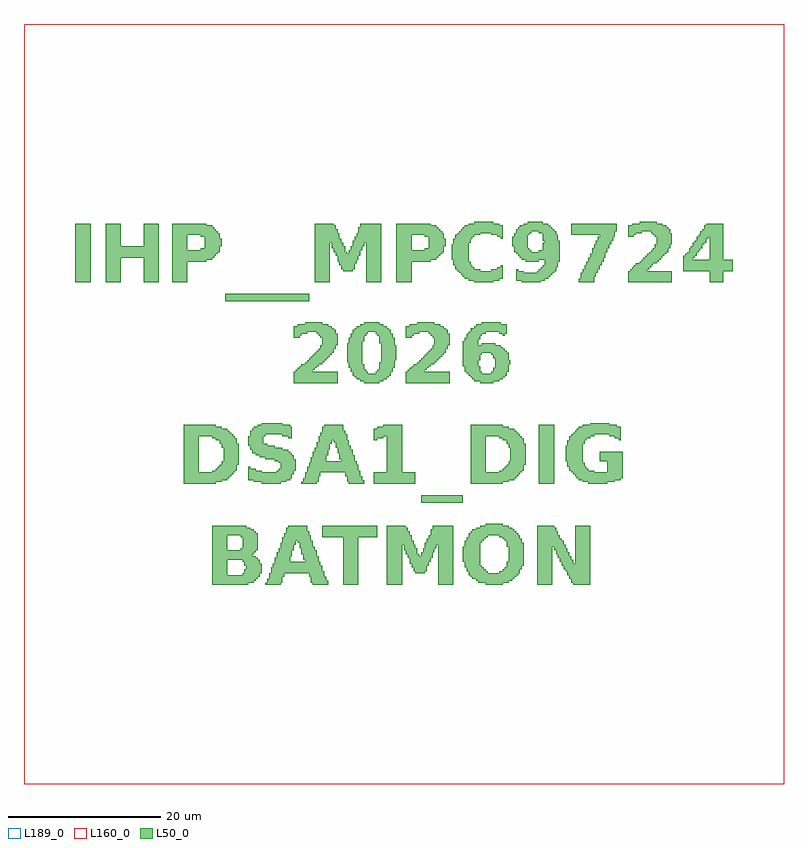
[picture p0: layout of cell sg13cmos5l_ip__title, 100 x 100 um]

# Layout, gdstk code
import gdstk
lib = gdstk.Library(unit=1e-6, precision=1e-09)
def R(c, l, rs):  # rectangles x0, y0, x1, y1
    for r in rs: c.add(gdstk.rectangle(r[:2], r[2:], *l))
def P(c, l, *ps):  # polygons
    for p in ps: c.add(gdstk.Polygon(p, *l))
L50_0 = (50, 0)
L160_0 = (160, 0)
L189_0 = (189, 0)

sg13cmos5l_ip__title = lib.new_cell('sg13cmos5l_ip__title')
R(sg13cmos5l_ip__title, L50_0, [(52.25,37,57.75,38), (67.75,39.5,69.75,47.25), (26.5,63.5,37.5,64.5), (6.75,66,8.75,73.75)])
P(sg13cmos5l_ip__title, L50_0, [(24.75,26.25),(24.75,29.5),(26.75,29.5),(26.75,27.5),(28.75,27.5),(28.75,27.75),(29,27.75),(29,28.25),(29.25,28.25),(29.25,28.75),(29,28.75),(29,29.25),(28.75,29.25),(28.75,29.5),(24.75,29.5),(24.75,32.75),(26.75,32.75),(26.75,30.75),(28.5,30.75),(28.5,31),(28.75,31),(28.75,32.5),(28.5,32.5),(28.5,32.75),(24.75,32.75),(24.75,34),(29.25,34),(29.25,33.75),(29.75,33.75),(29.75,33.5),(30.25,33.5),(30.25,33.25),(30.5,33.25),(30.5,33),(30.75,33),(30.75,30.75),(30.5,30.75),(30.5,30.5),(30.25,30.5),(30.25,30.25),(30,30.25),(30,30),(30.5,30),(30.5,29.75),(30.75,29.75),(30.75,29.5),(31,29.5),(31,29),(31.25,29),(31.25,27.75),(31,27.75),(31,27.25),(30.75,27.25),(30.75,27),(30.5,27),(30.5,26.75),(30.25,26.75),(30.25,26.5),(29.5,26.5),(29.5,26.25)],
  [(31.75,26.25),(31.75,26.5),(32,26.5),(32,27),(32.25,27),(32.25,27.75),(32.5,27.75),(32.5,28.5),(32.75,28.5),(32.75,29),(33,29),(33,29.75),(33.25,29.75),(33.25,30.5),(33.5,30.5),(33.5,31),(33.75,31),(33.75,31.75),(34,31.75),(34,32),(35.75,32),(35.75,31.5),(35.5,31.5),(35.5,30.75),(35.25,30.75),(35.25,30),(35,30),(35,29.25),(37,29.25),(37,29.5),(36.75,29.5),(36.75,30.25),(36.5,30.25),(36.5,31),(36.25,31),(36.25,31.75),(36,31.75),(36,32),(34,32),(34,32.5),(34.25,32.5),(34.25,33),(34.5,33),(34.5,33.75),(34.75,33.75),(34.75,34),(37.25,34),(37.25,33.25),(37.5,33.25),(37.5,32.75),(37.75,32.75),(37.75,32),(38,32),(38,31.25),(38.25,31.25),(38.25,30.75),(38.5,30.75),(38.5,30),(38.75,30),(38.75,29.25),(39,29.25),(39,28.75),(39.25,28.75),(39.25,28),(39.5,28),(39.5,27.25),(39.75,27.25),(39.75,26.75),(40,26.75),(40,26.25),(38,26.25),(38,26.5),(37.75,26.5),(37.75,27.25),(37.5,27.25),(37.5,27.75),(34.25,27.75),(34.25,27.25),(34,27.25),(34,26.5),(33.75,26.5),(33.75,26.25)],
  [(42,26.25),(42,32.5),(39.25,32.5),(39.25,34),(46.5,34),(46.5,32.5),(44,32.5),(44,26.25)],
  [(47.75,26.25),(47.75,34),(50.25,34),(50.25,33.75),(50.5,33.75),(50.5,33.25),(50.75,33.25),(50.75,32.75),(51,32.75),(51,32),(51.25,32),(51.25,31.5),(51.5,31.5),(51.5,31),(51.75,31),(51.75,30.25),(52,30.25),(52,30),(52.25,30),(52.25,30.5),(52.5,30.5),(52.5,31),(52.75,31),(52.75,31.75),(53,31.75),(53,32.25),(53.25,32.25),(53.25,32.75),(53.5,32.75),(53.5,33.5),(53.75,33.5),(53.75,34),(56.5,34),(56.5,26.25),(54.5,26.25),(54.5,31.5),(54.25,31.5),(54.25,31),(54,31),(54,30.5),(53.75,30.5),(53.75,29.75),(53.5,29.75),(53.5,29.25),(53.25,29.25),(53.25,28.75),(53,28.75),(53,28),(52.75,28),(52.75,27.75),(51.5,27.75),(51.5,28),(51.25,28),(51.25,28.5),(51,28.5),(51,29),(50.75,29),(50.75,29.75),(50.5,29.75),(50.5,30.25),(50.25,30.25),(50.25,30.75),(50,30.75),(50,31.5),(49.75,31.5),(49.75,26.25)],
  [(67.5,26.25),(67.5,34),(69.75,34),(69.75,33.75),(70,33.75),(70,33.25),(70.25,33.25),(70.25,32.75),(70.5,32.75),(70.5,32.25),(70.75,32.25),(70.75,32),(71,32),(71,31.5),(71.25,31.5),(71.25,31),(71.5,31),(71.5,30.5),(71.75,30.5),(71.75,30),(72,30),(72,29.5),(72.25,29.5),(72.25,29),(72.5,29),(72.5,34),(74.5,34),(74.5,26.25),(72.25,26.25),(72.25,26.5),(72,26.5),(72,27),(71.75,27),(71.75,27.5),(71.5,27.5),(71.5,28),(71.25,28),(71.25,28.25),(71,28.25),(71,28.75),(70.75,28.75),(70.75,29.25),(70.5,29.25),(70.5,29.75),(70.25,29.75),(70.25,30.25),(70,30.25),(70,30.75),(69.75,30.75),(69.75,31.25),(69.5,31.25),(69.5,26.25)],
  [(60.75,26.25),(60.75,26.5),(59.75,26.5),(59.75,26.75),(59.5,26.75),(59.5,27),(59,27),(59,27.25),(58.75,27.25),(58.75,27.5),(58.5,27.5),(58.5,28),(58.25,28),(58.25,28.5),(58,28.5),(58,29.25),(57.75,29.25),(57.75,31.25),(58,31.25),(58,32),(58.25,32),(58.25,32.5),(58.5,32.5),(58.5,32.75),(61,32.75),(61,32.5),(60.75,32.5),(60.75,32.25),(60.5,32.25),(60.5,32),(60.25,32),(60.25,31.75),(60,31.75),(60,28.75),(60.25,28.75),(60.25,28.5),(60.5,28.5),(60.5,28.25),(60.75,28.25),(60.75,28),(61,28),(61,27.75),(62.5,27.75),(62.5,28),(63,28),(63,28.25),(63.25,28.25),(63.25,28.5),(63.5,28.5),(63.5,29.25),(63.75,29.25),(63.75,31.25),(63.5,31.25),(63.5,32),(63.25,32),(63.25,32.25),(63,32.25),(63,32.5),(62.5,32.5),(62.5,32.75),(58.5,32.75),(58.5,33),(58.75,33),(58.75,33.25),(59,33.25),(59,33.5),(59.5,33.5),(59.5,33.75),(60,33.75),(60,34),(60.75,34),(60.75,34.25),(63,34.25),(63,34),(63.75,34),(63.75,33.75),(64.25,33.75),(64.25,33.5),(64.5,33.5),(64.5,33.25),(64.75,33.25),(64.75,33),(65,33),(65,32.75),(65.25,32.75),(65.25,32.25),(65.5,32.25),(65.5,31.75),(65.75,31.75),(65.75,28.75),(65.5,28.75),(65.5,28.25),(65.25,28.25),(65.25,27.75),(65,27.75),(65,27.5),(64.75,27.5),(64.75,27.25),(64.5,27.25),(64.5,27),(64.25,27),(64.25,26.75),(63.75,26.75),(63.75,26.5),(63,26.5),(63,26.25)],
  [(21,39.5),(21,45.75),(23,45.75),(23,41),(24.75,41),(24.75,41.25),(25.25,41.25),(25.25,41.5),(25.5,41.5),(25.5,41.75),(25.75,41.75),(25.75,42),(26,42),(26,42.5),(26.25,42.5),(26.25,44.25),(26,44.25),(26,44.75),(25.75,44.75),(25.75,45.25),(25.25,45.25),(25.25,45.5),(24.75,45.5),(24.75,45.75),(21,45.75),(21,47.25),(25.25,47.25),(25.25,47),(26,47),(26,46.75),(26.75,46.75),(26.75,46.5),(27,46.5),(27,46.25),(27.25,46.25),(27.25,46),(27.5,46),(27.5,45.75),(27.75,45.75),(27.75,45.5),(28,45.5),(28,44.75),(28.25,44.75),(28.25,42),(28,42),(28,41.25),(27.75,41.25),(27.75,41),(27.5,41),(27.5,40.75),(27.25,40.75),(27.25,40.5),(27,40.5),(27,40.25),(26.75,40.25),(26.75,40),(26,40),(26,39.75),(25.25,39.75),(25.25,39.5)],
  [(36.5,39.5),(36.5,39.75),(36.75,39.75),(36.75,40.25),(37,40.25),(37,41),(37.25,41),(37.25,41.75),(37.5,41.75),(37.5,42.25),(37.75,42.25),(37.75,43),(38,43),(38,43.75),(38.25,43.75),(38.25,44.25),(38.5,44.25),(38.5,45),(38.75,45),(38.75,45.25),(40.5,45.25),(40.5,44.75),(40.25,44.75),(40.25,44),(40,44),(40,43.25),(39.75,43.25),(39.75,42.5),(41.75,42.5),(41.75,42.75),(41.5,42.75),(41.5,43.5),(41.25,43.5),(41.25,44.25),(41,44.25),(41,45),(40.75,45),(40.75,45.25),(38.75,45.25),(38.75,45.75),(39,45.75),(39,46.25),(39.25,46.25),(39.25,47),(39.5,47),(39.5,47.25),(42,47.25),(42,46.5),(42.25,46.5),(42.25,46),(42.5,46),(42.5,45.25),(42.75,45.25),(42.75,44.5),(43,44.5),(43,44),(43.25,44),(43.25,43.25),(43.5,43.25),(43.5,42.5),(43.75,42.5),(43.75,42),(44,42),(44,41.25),(44.25,41.25),(44.25,40.5),(44.5,40.5),(44.5,40),(44.75,40),(44.75,39.5),(42.75,39.5),(42.75,39.75),(42.5,39.75),(42.5,40.5),(42.25,40.5),(42.25,41),(39,41),(39,40.5),(38.75,40.5),(38.75,39.75),(38.5,39.75),(38.5,39.5)],
  [(46,39.5),(46,41),(47.75,41),(47.75,45.75),(47.25,45.75),(47.25,45.5),(46.5,45.5),(46.5,45.25),(46,45.25),(46,46.75),(46.5,46.75),(46.5,47),(47.25,47),(47.25,47.25),(49.75,47.25),(49.75,41),(51.5,41),(51.5,39.5)],
  [(58.75,39.5),(58.75,45.75),(60.75,45.75),(60.75,41),(62.5,41),(62.5,41.25),(63,41.25),(63,41.5),(63.25,41.5),(63.25,41.75),(63.5,41.75),(63.5,42),(63.75,42),(63.75,42.5),(64,42.5),(64,44.25),(63.75,44.25),(63.75,44.75),(63.5,44.75),(63.5,45.25),(63,45.25),(63,45.5),(62.5,45.5),(62.5,45.75),(58.75,45.75),(58.75,47.25),(63,47.25),(63,47),(63.75,47),(63.75,46.75),(64.5,46.75),(64.5,46.5),(64.75,46.5),(64.75,46.25),(65,46.25),(65,46),(65.25,46),(65.25,45.75),(65.5,45.75),(65.5,45.5),(65.75,45.5),(65.75,44.75),(66,44.75),(66,42),(65.75,42),(65.75,41.25),(65.5,41.25),(65.5,41),(65.25,41),(65.25,40.75),(65,40.75),(65,40.5),(64.75,40.5),(64.75,40.25),(64.5,40.25),(64.5,40),(63.75,40),(63.75,39.75),(63,39.75),(63,39.5)],
  [(31.25,39.5),(31.25,39.75),(30.25,39.75),(30.25,40),(29.5,40),(29.5,41.75),(29.75,41.75),(29.75,41.5),(30.5,41.5),(30.5,41.25),(31.25,41.25),(31.25,41),(33.25,41),(33.25,41.25),(33.5,41.25),(33.5,41.5),(33.75,41.5),(33.75,42.25),(33.5,42.25),(33.5,42.5),(33,42.5),(33,42.75),(31.75,42.75),(31.75,43),(31,43),(31,43.25),(30.5,43.25),(30.5,43.5),(30,43.5),(30,44),(29.75,44),(29.75,44.5),(29.5,44.5),(29.5,45.75),(29.75,45.75),(29.75,46.5),(30,46.5),(30,46.75),(30.25,46.75),(30.25,47),(30.75,47),(30.75,47.25),(31.25,47.25),(31.25,47.5),(34,47.5),(34,47.25),(35,47.25),(35,47),(35.25,47),(35.25,45.5),(34.75,45.5),(34.75,45.75),(34,45.75),(34,46),(31.75,46),(31.75,45.75),(31.5,45.75),(31.5,44.75),(32,44.75),(32,44.5),(33,44.5),(33,44.25),(34,44.25),(34,44),(34.75,44),(34.75,43.75),(35,43.75),(35,43.5),(35.25,43.5),(35.25,43.25),(35.5,43.25),(35.5,42.75),(35.75,42.75),(35.75,41.25),(35.5,41.25),(35.5,40.75),(35.25,40.75),(35.25,40.25),(35,40.25),(35,40),(34.5,40),(34.5,39.75),(33.75,39.75),(33.75,39.5)],
  [(74.25,39.5),(74.25,39.75),(73.5,39.75),(73.5,40),(73,40),(73,40.25),(72.75,40.25),(72.75,40.5),(72.5,40.5),(72.5,40.75),(72.25,40.75),(72.25,41),(72,41),(72,41.25),(71.75,41.25),(71.75,41.75),(71.5,41.75),(71.5,42.5),(71.25,42.5),(71.25,44.5),(71.5,44.5),(71.5,45.25),(71.75,45.25),(71.75,45.75),(72,45.75),(72,46),(72.25,46),(72.25,46.25),(72.5,46.25),(72.5,46.5),(72.75,46.5),(72.75,46.75),(73,46.75),(73,47),(73.5,47),(73.5,47.25),(74.5,47.25),(74.5,47.5),(77,47.5),(77,47.25),(78,47.25),(78,47),(78.5,47),(78.5,45.25),(78.25,45.25),(78.25,45.5),(77.75,45.5),(77.75,45.75),(77,45.75),(77,46),(75,46),(75,45.75),(74.5,45.75),(74.5,45.5),(74,45.5),(74,45.25),(73.75,45.25),(73.75,44.75),(73.5,44.75),(73.5,42.25),(73.75,42.25),(73.75,41.75),(74,41.75),(74,41.5),(74.25,41.5),(74.25,41.25),(75,41.25),(75,41),(76.75,41),(76.75,42.5),(75.75,42.5),(75.75,43.75),(78.75,43.75),(78.75,40.25),(78.5,40.25),(78.5,40),(77.75,40),(77.75,39.75),(76.75,39.75),(76.75,39.5)],
  [(35.5,52.75),(35.5,54.25),(35.75,54.25),(35.75,54.5),(36,54.5),(36,54.75),(36.25,54.75),(36.25,55),(36.5,55),(36.5,55.25),(37,55.25),(37,55.5),(37.25,55.5),(37.25,55.75),(37.5,55.75),(37.5,56),(37.75,56),(37.75,56.25),(38,56.25),(38,56.5),(38.25,56.5),(38.25,56.75),(38.5,56.75),(38.5,57),(38.75,57),(38.75,57.25),(39,57.25),(39,57.75),(39.25,57.75),(39.25,58.75),(39,58.75),(39,59),(38.75,59),(38.75,59.25),(38.5,59.25),(38.5,59.5),(37.25,59.5),(37.25,59.25),(36.5,59.25),(36.5,59),(36.25,59),(36.25,58.75),(35.5,58.75),(35.5,60.25),(36,60.25),(36,60.5),(37,60.5),(37,60.75),(39.25,60.75),(39.25,60.5),(40,60.5),(40,60.25),(40.5,60.25),(40.5,60),(40.75,60),(40.75,59.75),(41,59.75),(41,59.25),(41.25,59.25),(41.25,57.75),(41,57.75),(41,57.25),(40.75,57.25),(40.75,56.75),(40.5,56.75),(40.5,56.5),(40.25,56.5),(40.25,56.25),(40,56.25),(40,56),(39.75,56),(39.75,55.75),(39.5,55.75),(39.5,55.5),(39.25,55.5),(39.25,55.25),(38.75,55.25),(38.75,55),(38.5,55),(38.5,54.75),(38.25,54.75),(38.25,54.5),(38,54.5),(38,54.25),(41.25,54.25),(41.25,52.75)],
  [(44.75,52.75),(44.75,53),(44.25,53),(44.25,53.25),(43.75,53.25),(43.75,53.5),(43.5,53.5),(43.5,53.75),(43.25,53.75),(43.25,54.25),(43,54.25),(43,54.75),(42.75,54.75),(42.75,55.5),(42.5,55.5),(42.5,58),(42.75,58),(42.75,58.75),(43,58.75),(43,59.25),(43.25,59.25),(43.25,59.5),(45.25,59.5),(45.25,59.25),(45,59.25),(45,59),(44.75,59),(44.75,58.25),(44.5,58.25),(44.5,55.25),(44.75,55.25),(44.75,54.5),(45,54.5),(45,54.25),(45.25,54.25),(45.25,54),(46.25,54),(46.25,54.25),(46.5,54.25),(46.5,54.5),(46.75,54.5),(46.75,55.5),(47,55.5),(47,58),(46.75,58),(46.75,59),(46.5,59),(46.5,59.25),(46.25,59.25),(46.25,59.5),(43.25,59.5),(43.25,59.75),(43.5,59.75),(43.5,60),(43.75,60),(43.75,60.25),(44.25,60.25),(44.25,60.5),(44.75,60.5),(44.75,60.75),(46.75,60.75),(46.75,60.5),(47.25,60.5),(47.25,60.25),(47.75,60.25),(47.75,60),(48,60),(48,59.75),(48.25,59.75),(48.25,59.25),(48.5,59.25),(48.5,58.75),(48.75,58.75),(48.75,57.75),(49,57.75),(49,55.75),(48.75,55.75),(48.75,54.75),(48.5,54.75),(48.5,54.25),(48.25,54.25),(48.25,53.75),(48,53.75),(48,53.5),(47.75,53.5),(47.75,53.25),(47.25,53.25),(47.25,53),(46.75,53),(46.75,52.75)],
  [(50.25,52.75),(50.25,54.25),(50.5,54.25),(50.5,54.5),(50.75,54.5),(50.75,54.75),(51,54.75),(51,55),(51.25,55),(51.25,55.25),(51.75,55.25),(51.75,55.5),(52,55.5),(52,55.75),(52.25,55.75),(52.25,56),(52.5,56),(52.5,56.25),(52.75,56.25),(52.75,56.5),(53,56.5),(53,56.75),(53.25,56.75),(53.25,57),(53.5,57),(53.5,57.25),(53.75,57.25),(53.75,57.75),(54,57.75),(54,58.75),(53.75,58.75),(53.75,59),(53.5,59),(53.5,59.25),(53.25,59.25),(53.25,59.5),(52,59.5),(52,59.25),(51.25,59.25),(51.25,59),(51,59),(51,58.75),(50.25,58.75),(50.25,60.25),(50.75,60.25),(50.75,60.5),(51.75,60.5),(51.75,60.75),(54,60.75),(54,60.5),(54.75,60.5),(54.75,60.25),(55.25,60.25),(55.25,60),(55.5,60),(55.5,59.75),(55.75,59.75),(55.75,59.25),(56,59.25),(56,57.75),(55.75,57.75),(55.75,57.25),(55.5,57.25),(55.5,56.75),(55.25,56.75),(55.25,56.5),(55,56.5),(55,56.25),(54.75,56.25),(54.75,56),(54.5,56),(54.5,55.75),(54.25,55.75),(54.25,55.5),(54,55.5),(54,55.25),(53.5,55.25),(53.5,55),(53.25,55),(53.25,54.75),(53,54.75),(53,54.5),(52.75,54.5),(52.75,54.25),(56,54.25),(56,52.75)],
  [(60,52.75),(60,53),(59.25,53),(59.25,53.25),(59,53.25),(59,53.5),(58.75,53.5),(58.75,53.75),(58.5,53.75),(58.5,54),(58.25,54),(58.25,54.25),(58,54.25),(58,55),(57.75,55),(57.75,56.75),(60.25,56.75),(60.25,56.5),(60,56.5),(60,55.75),(59.75,55.75),(59.75,55),(60,55),(60,54.25),(60.25,54.25),(60.25,54),(61.5,54),(61.5,54.25),(61.75,54.25),(61.75,54.75),(62,54.75),(62,56),(61.75,56),(61.75,56.5),(61.5,56.5),(61.5,56.75),(57.75,56.75),(57.75,58.25),(58,58.25),(58,58.75),(58.25,58.75),(58.25,59.25),(58.5,59.25),(58.5,59.5),(58.75,59.5),(58.75,60),(59.25,60),(59.25,60.25),(59.5,60.25),(59.5,60.5),(60.25,60.5),(60.25,60.75),(62.75,60.75),(62.75,60.5),(63.5,60.5),(63.5,59.25),(63.25,59.25),(63.25,59),(63,59),(63,59.25),(62.5,59.25),(62.5,59.5),(60.75,59.5),(60.75,59.25),(60.25,59.25),(60.25,59),(60,59),(60,58.5),(59.75,58.5),(59.75,57.75),(60.25,57.75),(60.25,58),(62,58),(62,57.75),(62.75,57.75),(62.75,57.5),(63,57.5),(63,57.25),(63.25,57.25),(63.25,57),(63.5,57),(63.5,56.75),(63.75,56.75),(63.75,55.75),(64,55.75),(64,55.25),(63.75,55.25),(63.75,54.25),(63.5,54.25),(63.5,53.75),(63.25,53.75),(63.25,53.5),(63,53.5),(63,53.25),(62.5,53.25),(62.5,53),(61.75,53),(61.75,52.75)],
  [(10.75,66),(10.75,73.75),(12.75,73.75),(12.75,70.75),(15.75,70.75),(15.75,73.75),(17.75,73.75),(17.75,66),(15.75,66),(15.75,69.25),(12.75,69.25),(12.75,66)],
  [(19.5,66),(19.5,72.25),(21.5,72.25),(21.5,70.25),(23.25,70.25),(23.25,70.5),(23.75,70.5),(23.75,72),(23.25,72),(23.25,72.25),(19.5,72.25),(19.5,73.75),(24,73.75),(24,73.5),(24.75,73.5),(24.75,73.25),(25,73.25),(25,73),(25.25,73),(25.25,72.75),(25.5,72.75),(25.5,72.5),(25.75,72.5),(25.75,71.75),(26,71.75),(26,70.75),(25.75,70.75),(25.75,70),(25.5,70),(25.5,69.75),(25.25,69.75),(25.25,69.5),(25,69.5),(25,69.25),(24.75,69.25),(24.75,69),(24,69),(24,68.75),(21.5,68.75),(21.5,66)],
  [(38.25,66),(38.25,73.75),(40.75,73.75),(40.75,73.5),(41,73.5),(41,73),(41.25,73),(41.25,72.5),(41.5,72.5),(41.5,71.75),(41.75,71.75),(41.75,71.25),(42,71.25),(42,70.75),(42.25,70.75),(42.25,70),(42.5,70),(42.5,69.75),(42.75,69.75),(42.75,70.25),(43,70.25),(43,70.75),(43.25,70.75),(43.25,71.5),(43.5,71.5),(43.5,72),(43.75,72),(43.75,72.5),(44,72.5),(44,73.25),(44.25,73.25),(44.25,73.75),(47,73.75),(47,66),(45,66),(45,71.25),(44.75,71.25),(44.75,70.75),(44.5,70.75),(44.5,70.25),(44.25,70.25),(44.25,69.5),(44,69.5),(44,69),(43.75,69),(43.75,68.5),(43.5,68.5),(43.5,67.75),(43.25,67.75),(43.25,67.5),(42,67.5),(42,67.75),(41.75,67.75),(41.75,68.25),(41.5,68.25),(41.5,68.75),(41.25,68.75),(41.25,69.5),(41,69.5),(41,70),(40.75,70),(40.75,70.5),(40.5,70.5),(40.5,71.25),(40.25,71.25),(40.25,66)],
  [(49,66),(49,72.25),(51,72.25),(51,70.25),(52.75,70.25),(52.75,70.5),(53.25,70.5),(53.25,72),(52.75,72),(52.75,72.25),(49,72.25),(49,73.75),(53.5,73.75),(53.5,73.5),(54.25,73.5),(54.25,73.25),(54.5,73.25),(54.5,73),(54.75,73),(54.75,72.75),(55,72.75),(55,72.5),(55.25,72.5),(55.25,71.75),(55.5,71.75),(55.5,70.75),(55.25,70.75),(55.25,70),(55,70),(55,69.75),(54.75,69.75),(54.75,69.5),(54.5,69.5),(54.5,69.25),(54.25,69.25),(54.25,69),(53.5,69),(53.5,68.75),(51,68.75),(51,66)],
  [(73,66),(73,66.5),(73.25,66.5),(73.25,67.25),(73.5,67.25),(73.5,67.75),(73.75,67.75),(73.75,68.25),(74,68.25),(74,68.75),(74.25,68.75),(74.25,69.25),(74.5,69.25),(74.5,69.75),(74.75,69.75),(74.75,70.5),(75,70.5),(75,71),(75.25,71),(75.25,71.5),(75.5,71.5),(75.5,72),(75.75,72),(75.75,72.25),(72,72.25),(72,73.75),(78,73.75),(78,72.75),(77.75,72.75),(77.75,72),(77.5,72),(77.5,71.5),(77.25,71.5),(77.25,71),(77,71),(77,70.5),(76.75,70.5),(76.75,70),(76.5,70),(76.5,69.25),(76.25,69.25),(76.25,68.75),(76,68.75),(76,68.25),(75.75,68.25),(75.75,67.75),(75.5,67.75),(75.5,67.25),(75.25,67.25),(75.25,66.75),(75,66.75),(75,66)],
  [(90.25,66),(90.25,67.5),(86.75,67.5),(86.75,69.5),(87,69.5),(87,69.75),(87.25,69.75),(87.25,70),(87.5,70),(87.5,70.5),(87.75,70.5),(87.75,70.75),(88,70.75),(88,71.25),(88.25,71.25),(88.25,71.5),(88.5,71.5),(88.5,72),(90,72),(90,71.75),(89.75,71.75),(89.75,71.25),(89.5,71.25),(89.5,71),(89.25,71),(89.25,70.5),(89,70.5),(89,70.25),(88.75,70.25),(88.75,70),(88.5,70),(88.5,69.5),(88.25,69.5),(88.25,69.25),(88,69.25),(88,69),(90.25,69),(90.25,72),(88.75,72),(88.75,72.25),(89,72.25),(89,72.75),(89.25,72.75),(89.25,73),(89.5,73),(89.5,73.5),(89.75,73.5),(89.75,73.75),(92,73.75),(92,69),(93.25,69),(93.25,67.5),(92,67.5),(92,66)],
  [(59.25,66),(59.25,66.25),(58.5,66.25),(58.5,66.5),(58,66.5),(58,66.75),(57.75,66.75),(57.75,67),(57.5,67),(57.5,67.25),(57.25,67.25),(57.25,67.5),(57,67.5),(57,67.75),(56.75,67.75),(56.75,68.25),(56.5,68.25),(56.5,69),(56.25,69),(56.25,71),(56.5,71),(56.5,71.75),(56.75,71.75),(56.75,72.25),(57,72.25),(57,72.5),(57.25,72.5),(57.25,72.75),(57.5,72.75),(57.5,73),(57.75,73),(57.75,73.25),(58,73.25),(58,73.5),(58.5,73.5),(58.5,73.75),(59.25,73.75),(59.25,74),(61.75,74),(61.75,73.75),(62.5,73.75),(62.5,73.5),(63,73.5),(63,71.75),(62.75,71.75),(62.75,72),(62.25,72),(62.25,72.25),(61.5,72.25),(61.5,72.5),(60,72.5),(60,72.25),(59.25,72.25),(59.25,72),(59,72),(59,71.75),(58.75,71.75),(58.75,71.25),(58.5,71.25),(58.5,68.75),(58.75,68.75),(58.75,68.25),(59,68.25),(59,68),(59.25,68),(59.25,67.75),(60,67.75),(60,67.5),(61.5,67.5),(61.5,67.75),(62.25,67.75),(62.25,68),(62.75,68),(62.75,68.25),(63,68.25),(63,66.5),(62.5,66.5),(62.5,66.25),(61.75,66.25),(61.75,66)],
  [(65.5,66),(65.5,66.25),(64.75,66.25),(64.75,67.75),(65,67.75),(65,67.5),(65.75,67.5),(65.75,67.25),(67.5,67.25),(67.5,67.5),(67.75,67.5),(67.75,67.75),(68,67.75),(68,68),(68.25,68),(68.25,68.25),(68.5,68.25),(68.5,69),(67.75,69),(67.75,68.75),(66,68.75),(66,69),(65.5,69),(65.5,69.25),(65.25,69.25),(65.25,69.5),(65,69.5),(65,69.75),(64.75,69.75),(64.75,70),(64.5,70),(64.5,70.75),(64.25,70.75),(64.25,72),(64.5,72),(64.5,72.5),(64.75,72.5),(64.75,72.75),(66.75,72.75),(66.75,72.5),(66.5,72.5),(66.5,72.25),(66.25,72.25),(66.25,70.5),(66.5,70.5),(66.5,70.25),(66.75,70.25),(66.75,70),(67.75,70),(67.75,70.25),(68.25,70.25),(68.25,71.25),(68.5,71.25),(68.5,71.5),(68.25,71.5),(68.25,72.5),(67.75,72.5),(67.75,72.75),(64.75,72.75),(64.75,73),(65,73),(65,73.25),(65.25,73.25),(65.25,73.5),(65.75,73.5),(65.75,73.75),(66.25,73.75),(66.25,74),(68.25,74),(68.25,73.75),(69,73.75),(69,73.5),(69.25,73.5),(69.25,73.25),(69.5,73.25),(69.5,73),(69.75,73),(69.75,72.75),(70,72.75),(70,72.25),(70.25,72.25),(70.25,71.5),(70.5,71.5),(70.5,68.75),(70.25,68.75),(70.25,68),(70,68),(70,67.5),(69.75,67.5),(69.75,67.25),(69.5,67.25),(69.5,67),(69.25,67),(69.25,66.75),(69,66.75),(69,66.5),(68.5,66.5),(68.5,66.25),(68,66.25),(68,66)],
  [(79.5,66),(79.5,67.5),(79.75,67.5),(79.75,67.75),(80,67.75),(80,68),(80.25,68),(80.25,68.25),(80.5,68.25),(80.5,68.5),(81,68.5),(81,68.75),(81.25,68.75),(81.25,69),(81.5,69),(81.5,69.25),(81.75,69.25),(81.75,69.5),(82,69.5),(82,69.75),(82.25,69.75),(82.25,70),(82.5,70),(82.5,70.25),(82.75,70.25),(82.75,70.5),(83,70.5),(83,71),(83.25,71),(83.25,72),(83,72),(83,72.25),(82.75,72.25),(82.75,72.5),(82.5,72.5),(82.5,72.75),(81.25,72.75),(81.25,72.5),(80.5,72.5),(80.5,72.25),(80.25,72.25),(80.25,72),(79.5,72),(79.5,73.5),(80,73.5),(80,73.75),(81,73.75),(81,74),(83.25,74),(83.25,73.75),(84,73.75),(84,73.5),(84.5,73.5),(84.5,73.25),(84.75,73.25),(84.75,73),(85,73),(85,72.5),(85.25,72.5),(85.25,71),(85,71),(85,70.5),(84.75,70.5),(84.75,70),(84.5,70),(84.5,69.75),(84.25,69.75),(84.25,69.5),(84,69.5),(84,69.25),(83.75,69.25),(83.75,69),(83.5,69),(83.5,68.75),(83.25,68.75),(83.25,68.5),(82.75,68.5),(82.75,68.25),(82.5,68.25),(82.5,68),(82.25,68),(82.25,67.75),(82,67.75),(82,67.5),(85.25,67.5),(85.25,66)])
R(sg13cmos5l_ip__title, L160_0, [(0,0,100,100)])
R(sg13cmos5l_ip__title, L189_0, [(0,0,100,100)])

lib.write_gds('sg13cmos5l_ip__title.gds')
